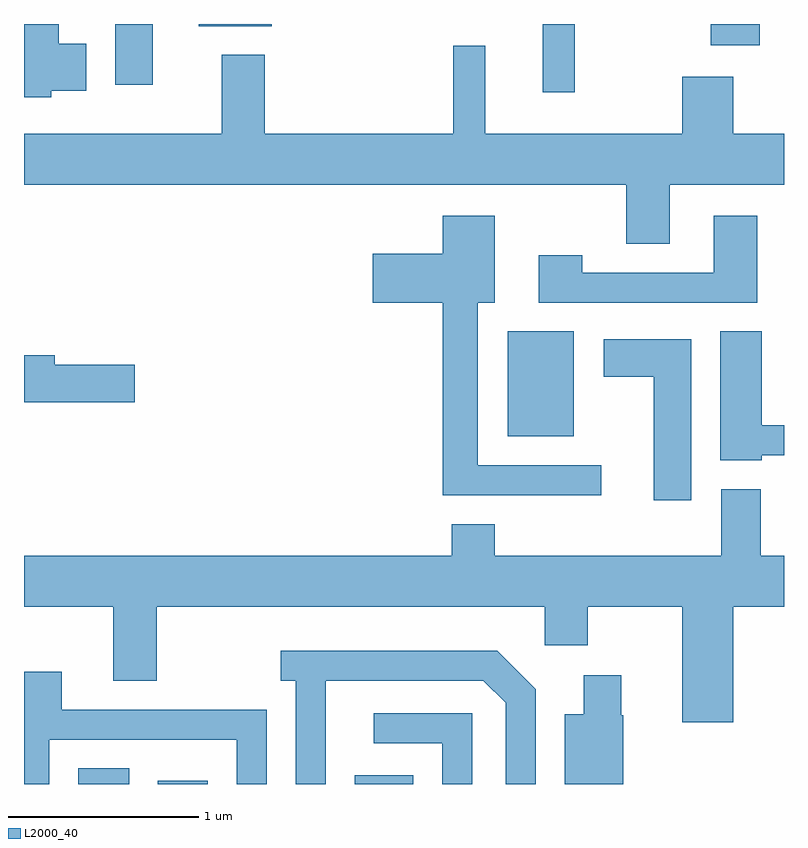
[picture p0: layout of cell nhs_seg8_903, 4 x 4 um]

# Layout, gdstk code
import gdstk
lib = gdstk.Library(unit=1e-6, precision=1e-09)
def R(c, l, rs):  # rectangles x0, y0, x1, y1
    for r in rs: c.add(gdstk.rectangle(r[:2], r[2:], *l))
def P(c, l, *ps):  # polygons
    for p in ps: c.add(gdstk.Polygon(p, *l))
L2000_40 = (2000, 40)

nhs_seg8_903 = lib.new_cell('nhs_seg8_903')
R(nhs_seg8_903, L2000_40, [(211.896,1864.342,212.164,1864.424), (212.316,1864.342,212.579,1864.359), (213.351,1864.342,213.659,1864.389), (214.156,1866.171,214.504,1866.724), (214.341,1867.983,214.509,1868.342), (212.091,1868.021,212.289,1868.342), (215.226,1868.231,215.484,1868.342), (212.531,1868.331,212.914,1868.342)])
P(nhs_seg8_903, L2000_40, [(211.754,1867.991),(211.939,1867.991),(211.939,1868.239),(211.794,1868.239),(211.794,1868.342),(211.611,1868.342),(211.611,1867.956),(211.754,1867.956)],
  [(215.009,1867.496),(215.611,1867.496),(215.611,1867.764),(215.344,1867.764),(215.344,1868.064),(215.076,1868.064),(215.076,1867.764),(214.039,1867.764),(214.039,1868.228),(213.871,1868.228),(213.871,1867.764),(212.879,1867.764),(212.879,1868.179),(212.651,1868.179),(212.651,1867.764),(211.611,1867.764),(211.611,1867.496),(214.781,1867.496),(214.781,1867.186),(215.009,1867.186)],
  [(214.648,1866.019),(213.999,1866.019),(213.999,1866.876),(214.089,1866.876),(214.089,1867.334),(213.816,1867.334),(213.816,1867.134),(213.446,1867.134),(213.446,1866.876),(213.816,1866.876),(213.816,1865.861),(214.648,1865.861)],
  [(215.469,1867.334),(215.241,1867.334),(215.241,1867.034),(214.549,1867.034),(214.549,1867.124),(214.321,1867.124),(214.321,1866.876),(215.469,1866.876)],
  [(215.494,1866.071),(215.611,1866.071),(215.611,1866.229),(215.494,1866.229),(215.494,1866.724),(215.276,1866.724),(215.276,1866.046),(215.494,1866.046)],
  [(215.124,1866.684),(214.661,1866.684),(214.661,1866.486),(214.926,1866.486),(214.926,1865.836),(215.124,1865.836)],
  [(212.194,1866.549),(211.774,1866.549),(211.774,1866.599),(211.611,1866.599),(211.611,1866.351),(212.194,1866.351)],
  [(215.344,1865.276),(215.611,1865.276),(215.611,1865.544),(215.489,1865.544),(215.489,1865.894),(215.281,1865.894),(215.281,1865.544),(214.089,1865.544),(214.089,1865.709),(213.861,1865.709),(213.861,1865.544),(211.611,1865.544),(211.611,1865.276),(212.081,1865.276),(212.081,1864.886),(212.309,1864.886),(212.309,1865.276),(214.351,1865.276),(214.351,1865.071),(214.579,1865.071),(214.579,1865.276),(215.076,1865.276),(215.076,1864.666),(215.344,1864.666)],
  [(213.199,1864.886),(214.029,1864.886),(214.146,1864.769),(214.146,1864.342),(214.304,1864.342),(214.304,1864.842),(214.102,1865.044),(212.963,1865.044),(212.963,1864.886),(213.041,1864.886),(213.041,1864.342),(213.199,1864.342)],
  [(211.744,1864.576),(212.731,1864.576),(212.731,1864.342),(212.889,1864.342),(212.889,1864.734),(211.809,1864.734),(211.809,1864.934),(211.611,1864.934),(211.611,1864.342),(211.744,1864.342)],
  [(214.764,1864.705),(214.754,1864.705),(214.754,1864.914),(214.556,1864.914),(214.556,1864.709),(214.456,1864.709),(214.456,1864.342),(214.764,1864.342)],
  [(213.969,1864.714),(213.453,1864.714),(213.453,1864.556),(213.811,1864.556),(213.811,1864.342),(213.969,1864.342)])

lib.write_gds('nhs_seg8_903.gds')
